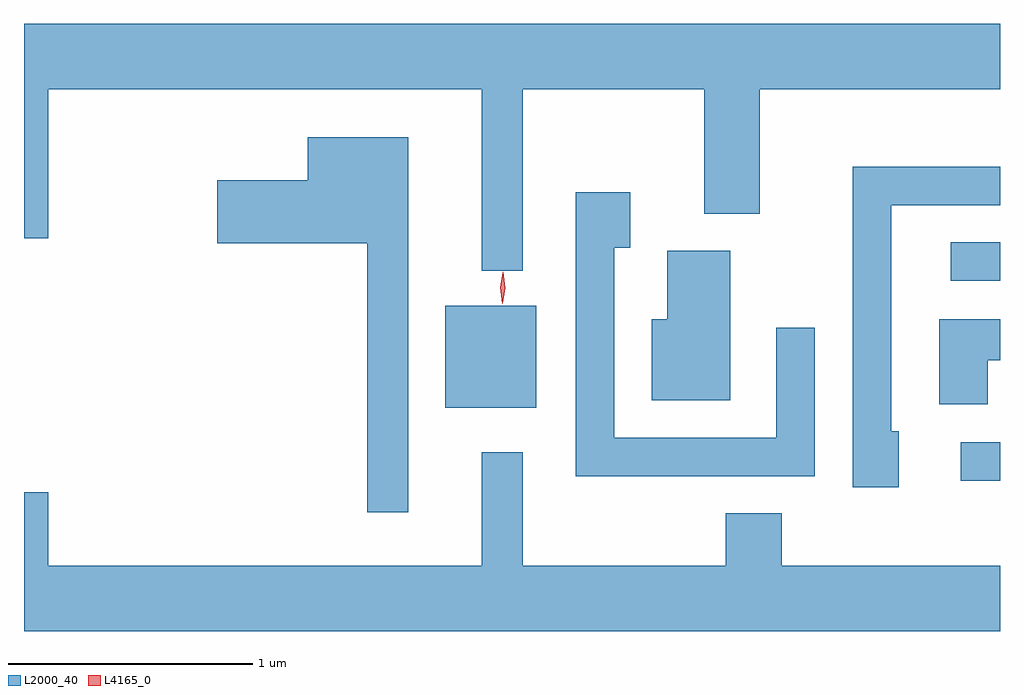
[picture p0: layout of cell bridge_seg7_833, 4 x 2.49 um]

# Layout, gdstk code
import gdstk
lib = gdstk.Library(unit=1e-6, precision=1e-09)
def R(c, l, rs):  # rectangles x0, y0, x1, y1
    for r in rs: c.add(gdstk.rectangle(r[:2], r[2:], *l))
def P(c, l, *ps):  # polygons
    for p in ps: c.add(gdstk.Polygon(p, *l))
L2000_40 = (2000, 40)
L4165_0 = (4165, 0)

bridge_seg7_833 = lib.new_cell('bridge_seg7_833')
R(bridge_seg7_833, L2000_40, [(299.003,1734.911,299.164,1735.069), (296.891,1735.211,297.264,1735.629), (298.963,1735.731,299.164,1735.889)])
P(bridge_seg7_833, L2000_40, [(297.209,1736.516),(297.951,1736.516),(297.951,1736.006),(298.179,1736.006),(298.179,1736.516),(299.164,1736.516),(299.164,1736.784),(295.164,1736.784),(295.164,1735.906),(295.264,1735.906),(295.264,1736.516),(297.041,1736.516),(297.041,1735.773),(297.209,1735.773)],
  [(296.739,1736.319),(296.326,1736.319),(296.326,1736.144),(295.956,1736.144),(295.956,1735.886),(296.571,1735.886),(296.571,1734.783),(296.739,1734.783)],
  [(298.749,1735.114),(298.719,1735.114),(298.719,1736.041),(299.164,1736.041),(299.164,1736.199),(298.561,1736.199),(298.561,1734.886),(298.749,1734.886)],
  [(298.404,1735.538),(298.246,1735.538),(298.246,1735.089),(297.584,1735.089),(297.584,1735.866),(297.649,1735.866),(297.649,1736.094),(297.426,1736.094),(297.426,1734.931),(298.404,1734.931)],
  [(298.059,1735.854),(297.801,1735.854),(297.801,1735.574),(297.736,1735.574),(297.736,1735.241),(298.059,1735.241)],
  [(299.114,1735.406),(299.164,1735.406),(299.164,1735.574),(298.916,1735.574),(298.916,1735.226),(299.114,1735.226)],
  [(299.164,1734.564),(298.269,1734.564),(298.269,1734.779),(298.041,1734.779),(298.041,1734.564),(297.209,1734.564),(297.209,1735.028),(297.041,1735.028),(297.041,1734.564),(295.264,1734.564),(295.264,1734.864),(295.164,1734.864),(295.164,1734.296),(299.164,1734.296)])
P(bridge_seg7_833, L4165_0, [(297.125,1735.638),(297.125,1735.639),(297.116,1735.703),(297.127,1735.767),(297.127,1735.767),(297.128,1735.767),(297.136,1735.702),(297.126,1735.639)])

lib.write_gds('bridge_seg7_833.gds')
